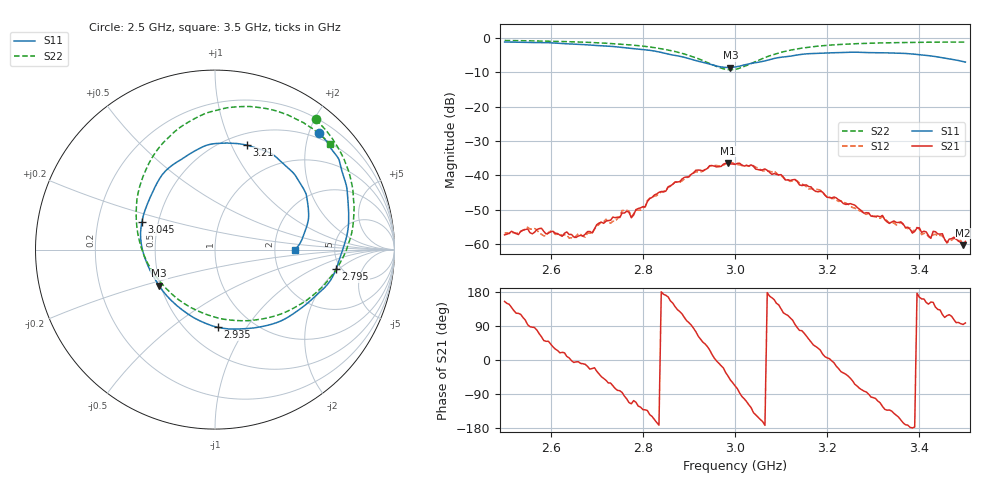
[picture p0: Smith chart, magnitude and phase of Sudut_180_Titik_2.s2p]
# Hz S RI R 50
! CMT, C1220, 16058040, 17.2.0/1
! Date: 15/08/2018 10:50:29
! Data: Format (Calibration Info)
! Freq  S11: Re/Im (F2)  S21: Re/Im (F2)  S12: Re/Im (F2)  S22: Re/Im (F2)
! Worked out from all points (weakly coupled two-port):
!   201 points, 2.5 GHz to 3.5 GHz, reference 50 ohm
!   highest |S21| = -36.42 dB at 2.985 GHz (marker M1); lowest = -60.3 dB at 3.495 GHz (marker M2)
!   lowest |S11| = -8.6 dB at 2.99 GHz (marker M3), VSWR 2.18, Z = 24.5 - j11.4 ohm
!   |S11| at or under -10 dB: nowhere
!   |S22| runs from -9.2 to -0.7 dB; largest |S21 - S12| = 0.0011
!   S11 on the Smith chart (normalised r, x): 2.5 GHz: 0.40, +2.17; 2.795 GHz: 4.52, -1.85; 2.935 GHz: 0.70, -0.75; 3.045 GHz: 0.40, +0.15; 3.21 GHz: 0.62, +1.14; 3.5 GHz: 2.60, -0.01
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2.5e9  0.5805 0.6505  -0.00123 0.000588  -0.00132 0.000614  0.5623 0.7258
2.55e9  0.6369 0.5771  -9.16e-05 0.00165  -0.000241 0.00174  0.6181 0.665
2.58e9  0.6798 0.5197  0.000813 0.00149  0.000733 0.00118  0.6506 0.6225
2.67e9  0.7377 0.3122  0.00128 -0.000223  0.00126 -0.00033  0.7376 0.4558
2.72e9  0.7446 0.1634  0.00128 -0.00173  0.00131 -0.00188  0.7683 0.3317
2.74e9  0.7386 0.0978  0.000614 -0.00234  0.000717 -0.00201  0.7724 0.2745
2.755e9  0.7249 0.0425  0.00021 -0.00281  0.000375 -0.00305  0.7749 0.2296
2.775e9  0.7027 -0.0262  -0.00104 -0.00217  -0.00111 -0.00224  0.7717 0.1629
2.795e9  0.6742 -0.1095  -0.0019 -0.00277  -0.00177 -0.00257  0.7614 0.0918
2.835e9  0.5747 -0.2459  -0.00561 -0.000804  -0.00537 -0.000971  0.7014 -0.0657
2.935e9  0.0145 -0.4328  0.00892 0.00814  0.0086 0.00851  0.2258 -0.3918
2.985e9  -0.2908 -0.2305  0.0111 -0.0103  0.0117 -0.00988  -0.1718 -0.3003
2.99e9  -0.312 -0.2004  0.00886 -0.0116  0.0095 -0.0121  -0.2085 -0.2752
3e9  -0.3509 -0.138  0.00536 -0.0134  0.00463 -0.0137  -0.2742 -0.2145
3.045e9  -0.4071 0.1551  -0.01 -0.00712  -0.0105 -0.00772  -0.4355 0.1285
3.1e9  -0.2569 0.4557  -0.00719 0.00727  -0.00662 0.00737  -0.3557 0.5039
3.17e9  0.0258 0.5922  0.00473 0.00396  0.00446 0.00438  -0.0919 0.7412
3.21e9  0.1758 0.5825  0.00467 -0.000162  0.00456 -0.000529  0.0539 0.7873
3.335e9  0.4652 0.3851  -0.00133 -0.00149  -0.00143 -0.00144  0.3903 0.7558
3.435e9  0.5153 0.1442  -0.00115 0.00098  -0.00103 0.00093  0.5613 0.6599
3.495e9  0.4526 0.00766  -6.38e-05 0.000965  -3.06e-05 0.00093  0.6378 0.5914
3.5e9  0.4445 -0.00163  -0.000147 0.00108  -9.04e-05 0.00103  0.6431 0.5858
